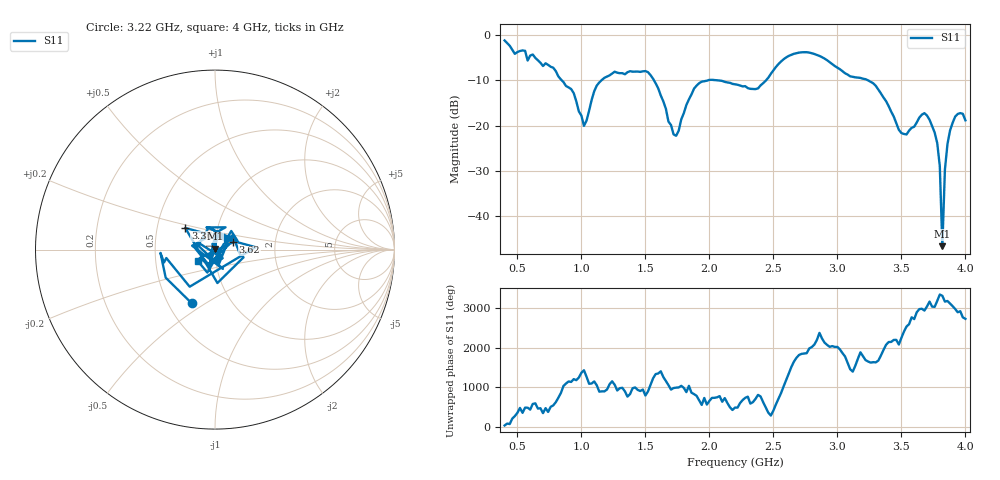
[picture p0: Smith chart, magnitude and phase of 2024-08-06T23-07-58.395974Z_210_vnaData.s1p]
!Created with skrf (http://scikit-rf.org).
# Hz S RI R 50.0
!freq ReS11 ImS11
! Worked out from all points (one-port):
!   181 points, 400 MHz to 4 GHz, reference 50 ohm
!   lowest |S11| = -46.6 dB at 3.82 GHz (marker M1), VSWR 1.01, Z = 50.1 + j0.462 ohm
!   |S11| at or under -10 dB: 1.567 GHz to 1.988 GHz (420.9 MHz wide, 23.7 % of centre); 2.067 GHz to 2.442 GHz (375.2 MHz wide, 16.6 % of centre); 3.24 GHz to end of sweep (the widest 3 of 4)
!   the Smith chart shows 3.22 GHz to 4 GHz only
!   S11 on the Smith chart (normalised r, x): 3.22 GHz: 0.65, -0.44; 3.36 GHz: 0.70, +0.18; 3.62 GHz: 1.22, +0.10; 4 GHz: 0.82, -0.11
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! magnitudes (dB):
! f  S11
! 400 MHz  -1.2
! 860 MHz  -10.4
! 940 MHz  -12.8
! 1.02 GHz  -20.0
! 1.12 GHz  -11.2
! 1.3 GHz  -8.4
! 1.52 GHz  -8.2
! 1.6 GHz  -11.8
! 1.72 GHz  -21.9
! 1.76 GHz  -21.1
! 1.92 GHz  -10.6
! 2.2 GHz  -10.9
! 2.38 GHz  -11.8
! 2.66 GHz  -4.1
! 3.1 GHz  -9.1
! 3.22 GHz  -9.7
! 3.36 GHz  -13.8
! 3.48 GHz  -20.9
! 3.56 GHz  -21.1
! 3.62 GHz  -19.3
! 3.7 GHz  -17.8
! 3.78 GHz  -23.9
! 3.8 GHz  -28.9
! 3.82 GHz  -46.6
! 3.84 GHz  -29.7
! 3.86 GHz  -24.1
! 3.92 GHz  -18.0
! 4 GHz  -18.8
